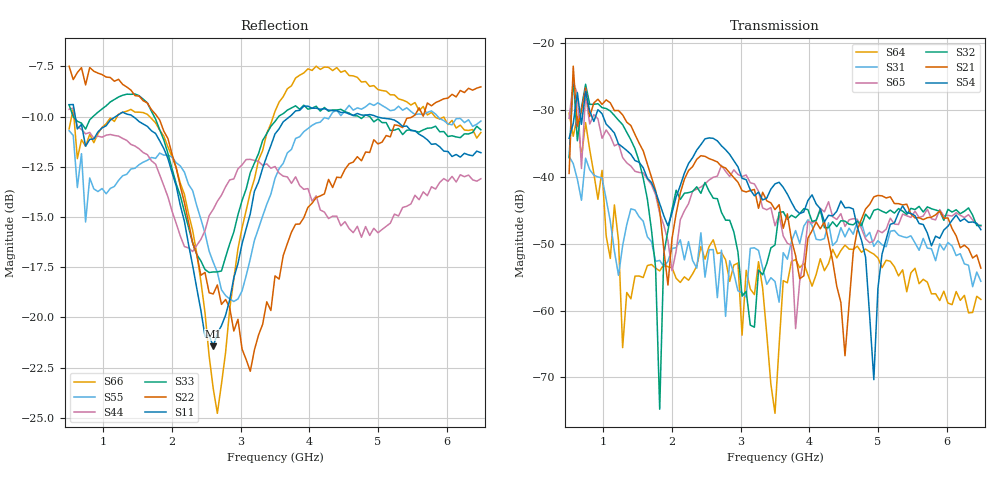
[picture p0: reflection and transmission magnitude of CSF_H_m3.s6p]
!Keysight Technologies,M9804A,MY58100912,A.14.10.03
!Date: Thursday, April 27, 2023 10:28:33
!Correction: S11(C  6-Port  )
!S12(C  6-Port  )
!S13(C  6-Port  )
!S14(C  6-Port  )
!S15(C  6-Port  )
!S16(C  6-Port  )
!S21(C  6-Port  )
!S22(C  6-Port  )
!S23(C  6-Port  )
!S24(C  6-Port  )
!S25(C  6-Port  )
!S26(C  6-Port  )
!S31(C  6-Port  )
!S32(C  6-Port  )
!S33(C  6-Port  )
!S34(C  6-Port  )
!S35(C  6-Port  )
!S36(C  6-Port  )
!S41(C  6-Port  )
!S42(C  6-Port  )
!S43(C  6-Port  )
!S44(C  6-Port  )
!S45(C  6-Port  )
!S46(C  6-Port  )
!S51(C  6-Port  )
!S52(C  6-Port  )
!S53(C  6-Port  )
!S54(C  6-Port  )
!S55(C  6-Port  )
!S56(C  6-Port  )
!S61(C  6-Port  )
!S62(C  6-Port  )
!S63(C  6-Port  )
!S64(C  6-Port  )
!S65(C  6-Port  )
!S66(C  6-Port  )
!S6P File: Measurement: :
# Hz S  RI  R 50
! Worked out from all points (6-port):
!   101 points, 500 MHz to 6.5 GHz, reference 50 ohm
!   strongest paths, dB at 500 MHz, 2 GHz, 3.5 GHz, 5 GHz, 6.5 GHz:
!     S54: -34.2, -45.4, -41.0, -56.6, -47.9
!     S21: -39.5, -49.2, -44.9, -42.8, -53.6
!     S32: -37.1, -44.8, -50.2, -44.8, -47.2
!     S65: -31.2, -54.0, -47.3, -48.0, -47.4
!     S31: -36.9, -50.7, -55.6, -49.5, -55.6
!     S64: -30.5, -53.6, -75.4, -52.1, -58.3
!   lowest |S11| = -21.4 dB at 2.6 GHz (marker M1), VSWR 1.19, Z = 42.5 + j2.17 ohm
!   |S11| at or under -10 dB: 589.7 MHz to 1.177 GHz (587.5 MHz wide, 66.5 % of centre); 1.434 GHz to 3.714 GHz (2.28 GHz wide, 88.6 % of centre); 4.98 GHz to end of sweep
